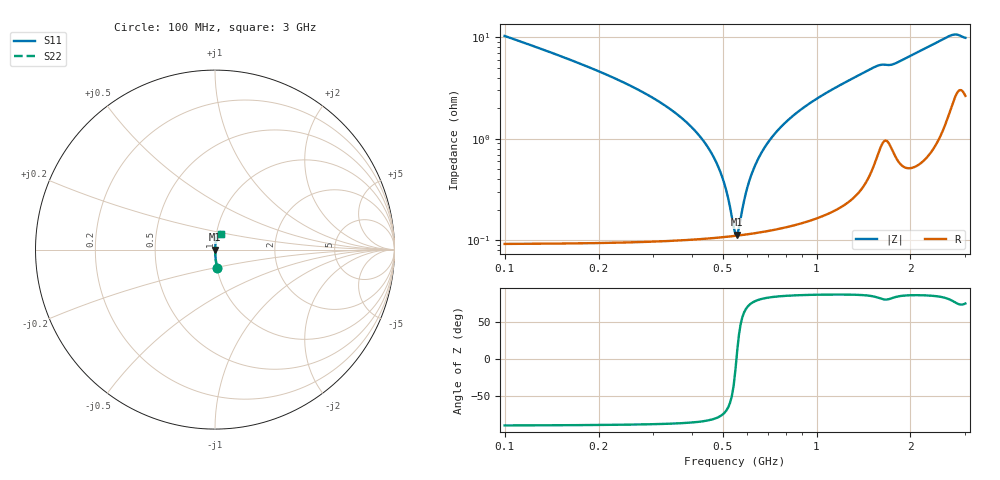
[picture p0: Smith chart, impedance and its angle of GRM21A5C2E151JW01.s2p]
!Murata Part Number: GRM21A5C2E151JW01
!These Parameters are Measured in Series Mode Connection
!Data Generated on Mar 30, 2021
!  o--ll--o
!Port1  Port2
!  o------o
!Operation Temp=25[degC], DC Bias Voltage=0[V]
!Freq. Start=100[MHz] Stop=3[GHz] 401[Steps]
# Hz S RI R 50
!Freq.(Hz) S11(Real) S11(Imag) S21(Real) S21(Imag) S12(Real) S12(Imag) S22(Real) S22(Imag)
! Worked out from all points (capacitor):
!   401 points, 100 MHz to 3 GHz, reference 50 ohm
!   read as one part in series: C = 150 pF near 114.5 MHz
!   lowest |Z| = 114 mohm at 556.8 MHz (marker M1)
!   series resonance near 553.6 MHz, so ESL is about 550 pH
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1e8  0.0113 -0.1014  0.9887 0.1014  0.9887 0.1014  0.0113 -0.1014
1.87e8  0.00346 -0.0501  0.9965 0.0501  0.9965 0.0501  0.00346 -0.0501
3.6825e8  0.00126 -0.0161  0.9987 0.0161  0.9987 0.0161  0.00126 -0.0161
4.335e8  0.00112 -0.00949  0.9989 0.00949  0.9989 0.00949  0.00112 -0.00949
4.915e8  0.00109 -0.00459  0.9989 0.00459  0.9989 0.00459  0.00109 -0.00459
5.1325e8  0.00109 -0.00292  0.9989 0.00292  0.9989 0.00292  0.00109 -0.00292
5.4225e8  0.0011 -0.0008  0.9989 0.0008  0.9989 0.0008  0.0011 -0.0008
5.5675e8  0.00111 0.000216  0.9989 -0.000216  0.9989 -0.000216  0.00111 0.000216
5.64e8  0.00112 0.000715  0.9989 -0.000715  0.9989 -0.000715  0.00112 0.000715
5.8575e8  0.00114 0.00218  0.9989 -0.00218  0.9989 -0.00218  0.00114 0.00218
6.1475e8  0.00118 0.00405  0.9988 -0.00405  0.9988 -0.00405  0.00118 0.00405
6.4375e8  0.00122 0.00585  0.9988 -0.00585  0.9988 -0.00585  0.00122 0.00585
6.8e8  0.00128 0.008  0.9987 -0.008  0.9987 -0.008  0.00128 0.008
7.3075e8  0.00139 0.0109  0.9986 -0.0109  0.9986 -0.0109  0.00139 0.0109
8.685e8  0.00176 0.0181  0.9982 -0.0181  0.9982 -0.0181  0.00176 0.0181
1.0715e9  0.00257 0.0279  0.9974 -0.0279  0.9974 -0.0279  0.00257 0.0279
1.55e9  0.00869 0.0504  0.9913 -0.0504  0.9913 -0.0504  0.00869 0.0504
1.753e9  0.0103 0.0524  0.9897 -0.0524  0.9897 -0.0524  0.0103 0.0524
2.03575e9  0.00959 0.0661  0.9904 -0.0661  0.9904 -0.0661  0.00959 0.0661
2.5215e9  0.0197 0.0906  0.9803 -0.0906  0.9803 -0.0906  0.0197 0.0906
2.76075e9  0.0336 0.0972  0.9664 -0.0972  0.9664 -0.0972  0.0336 0.0972
3e9  0.034 0.0892  0.966 -0.0892  0.966 -0.0892  0.034 0.0892
